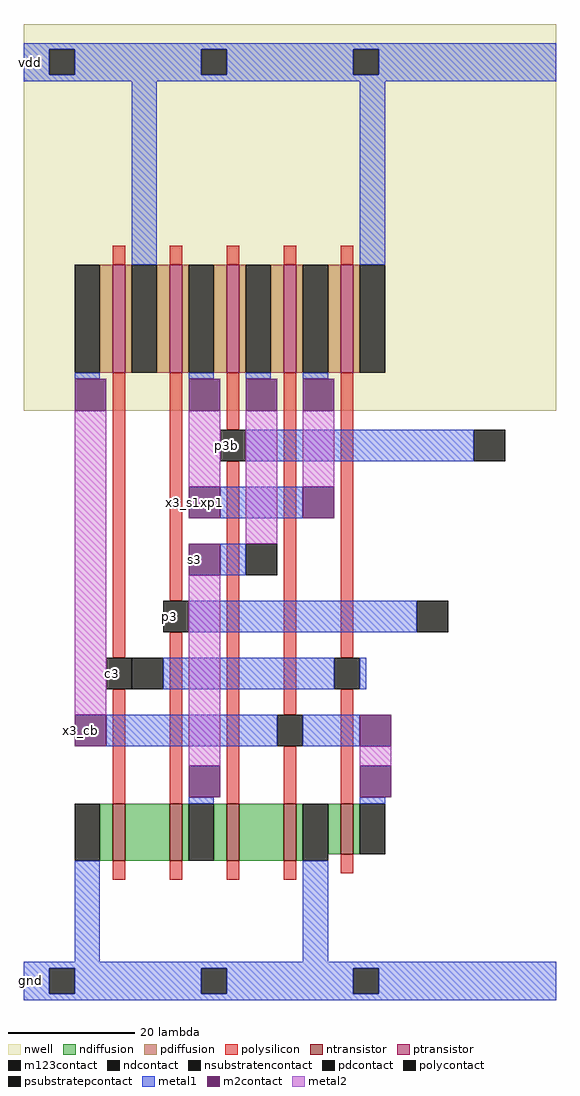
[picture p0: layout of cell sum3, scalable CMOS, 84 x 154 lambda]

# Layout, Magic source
magic
tech scmos
<< nwell >>
rect 0 93 84 154
<< ntransistor >>
rect 14 22 16 31
rect 23 22 25 31
rect 32 22 34 31
rect 41 22 43 31
rect 50 23 52 31
<< ptransistor >>
rect 14 99 16 116
rect 23 99 25 116
rect 32 99 34 116
rect 41 99 43 116
rect 50 99 52 116
<< ndiffusion >>
rect 12 22 14 31
rect 16 22 23 31
rect 25 22 26 31
rect 30 22 32 31
rect 34 22 41 31
rect 43 22 44 31
rect 48 23 50 31
rect 52 23 53 31
<< pdiffusion >>
rect 12 99 14 116
rect 16 99 17 116
rect 21 99 23 116
rect 25 99 26 116
rect 30 99 32 116
rect 34 99 35 116
rect 39 99 41 116
rect 43 99 44 116
rect 48 99 50 116
rect 52 99 53 116
<< ndcontact >>
rect 8 22 12 31
rect 26 22 30 31
rect 44 22 48 31
rect 53 23 57 31
<< pdcontact >>
rect 8 99 12 116
rect 17 99 21 116
rect 26 99 30 116
rect 35 99 39 116
rect 44 99 48 116
rect 53 99 57 116
<< psubstratepcontact >>
rect 4 1 8 5
rect 28 1 32 5
rect 52 1 56 5
<< nsubstratencontact >>
rect 4 146 8 150
rect 28 146 32 150
rect 52 146 56 150
<< polysilicon >>
rect 14 116 16 119
rect 23 116 25 119
rect 32 116 34 119
rect 41 116 43 119
rect 50 116 52 119
rect 14 54 16 99
rect 23 63 25 99
rect 32 90 34 99
rect 14 31 16 49
rect 23 31 25 58
rect 32 31 34 85
rect 41 45 43 99
rect 50 54 52 99
rect 41 31 43 40
rect 50 31 52 49
rect 14 19 16 22
rect 23 19 25 22
rect 32 19 34 22
rect 41 19 43 22
rect 50 20 52 23
<< polycontact >>
rect 31 85 35 90
rect 22 58 26 63
rect 13 49 17 54
rect 49 49 53 54
rect 40 40 44 45
<< metal1 >>
rect 0 150 84 151
rect 0 146 4 150
rect 8 146 28 150
rect 32 146 52 150
rect 56 146 84 150
rect 0 145 84 146
rect 17 116 21 145
rect 53 116 57 145
rect 8 98 12 99
rect 26 98 30 99
rect 35 98 39 99
rect 44 98 48 99
rect 35 85 71 90
rect 31 76 44 81
rect 31 67 35 72
rect 26 58 62 63
rect 22 49 49 54
rect 53 49 54 54
rect 13 40 40 45
rect 44 40 53 45
rect 26 31 30 32
rect 53 31 57 32
rect 8 6 12 22
rect 44 6 48 22
rect 0 5 84 6
rect 0 1 4 5
rect 8 1 28 5
rect 32 1 52 5
rect 56 1 84 5
rect 0 0 84 1
<< m2contact >>
rect 8 93 13 98
rect 26 93 31 98
rect 35 93 40 98
rect 44 93 49 98
rect 26 76 31 81
rect 44 76 49 81
rect 26 67 31 72
rect 8 40 13 45
rect 53 40 58 45
rect 26 32 31 37
rect 53 32 58 37
<< metal2 >>
rect 8 45 13 93
rect 26 81 31 93
rect 35 72 40 93
rect 44 81 49 93
rect 26 37 31 67
rect 53 37 58 40
<< m123contact >>
rect 71 85 76 90
rect 35 67 40 72
rect 17 49 22 54
rect 62 58 67 63
<< labels >>
rlabel metal1 13 49 15 54 0 c3
port 1 nsew
rlabel metal1 22 58 24 63 0 p3
port 2 nsew
rlabel metal1 31 85 33 90 0 p3b
port 3 nsew
rlabel m2contact 26 67 28 72 0 s3
port 4 nsew
rlabel m2contact 8 40 10 45 0 x3_cb
rlabel m2contact 26 76 28 81 0 x3_s1xp1
rlabel metal1 0 145 2 151 0 vdd
port 5 nsew
rlabel metal1 0 0 2 6 0 gnd
port 6 nsew
<< end >>
